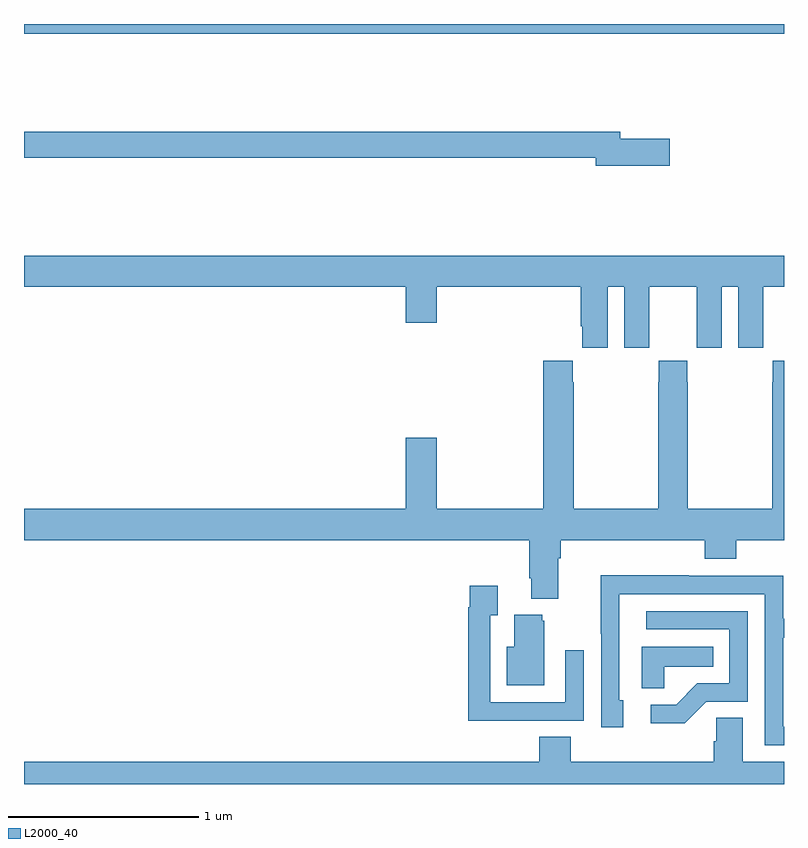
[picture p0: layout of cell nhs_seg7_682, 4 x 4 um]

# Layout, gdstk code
import gdstk
lib = gdstk.Library(unit=1e-6, precision=1e-09)
def R(c, l, rs):  # rectangles x0, y0, x1, y1
    for r in rs: c.add(gdstk.rectangle(r[:2], r[2:], *l))
def P(c, l, *ps):  # polygons
    for p in ps: c.add(gdstk.Polygon(p, *l))
L2000_40 = (2000, 40)

nhs_seg7_682 = lib.new_cell('nhs_seg7_682')
R(nhs_seg7_682, L2000_40, [(163,1001.948,167,1002)])
P(nhs_seg7_682, L2000_40, [(166.399,1001.396),(166.138,1001.396),(166.138,1001.432),(163,1001.432),(163,1001.296),(166.01,1001.296),(166.01,1001.254),(166.399,1001.254)],
  [(166.072,1000.616),(166.16,1000.616),(166.16,1000.296),(166.29,1000.296),(166.29,1000.408),(166.291,1000.408),(166.291,1000.616),(166.541,1000.616),(166.541,1000.408),(166.542,1000.408),(166.542,1000.296),(166.672,1000.296),(166.672,1000.616),(166.76,1000.616),(166.76,1000.296),(166.89,1000.296),(166.89,1000.408),(166.891,1000.408),(166.891,1000.616),(167,1000.616),(167,1000.78),(163,1000.78),(163,1000.616),(165.008,1000.616),(165.008,1000.428),(165.172,1000.428),(165.172,1000.616),(165.929,1000.616),(165.929,1000.408),(165.938,1000.408),(165.938,1000.296),(166.072,1000.296)],
  [(165.811,999.188),(165.824,999.188),(165.824,999.284),(166.583,999.284),(166.583,999.185),(166.748,999.185),(166.748,999.284),(167,999.284),(167,1000.228),(166.941,1000.228),(166.941,1000.115),(166.939,1000.115),(166.939,999.448),(166.494,999.448),(166.494,1000.115),(166.491,1000.115),(166.491,1000.228),(166.341,1000.228),(166.341,1000.115),(166.339,1000.115),(166.339,999.448),(165.894,999.448),(165.894,1000.115),(165.887,1000.115),(165.887,1000.228),(165.734,1000.228),(165.734,999.448),(165.172,999.448),(165.172,999.823),(165.008,999.823),(165.008,999.448),(163,999.448),(163,999.284),(165.659,999.284),(165.659,999.082),(165.671,999.082),(165.671,998.975),(165.811,998.975)],
  [(167,998.301),(166.995,998.301),(166.995,998.77),(167,998.77),(167,998.871),(166.995,998.871),(166.995,999.096),(166.499,999.096),(166.499,999.098),(166.036,999.098),(166.036,998.791),(166.038,998.791),(166.038,998.298),(166.153,998.298),(166.153,998.442),(166.134,998.442),(166.134,999),(166.899,999),(166.899,998.205),(167,998.205)],
  [(165.629,998.334),(165.945,998.334),(165.945,998.704),(165.849,998.704),(165.849,998.43),(165.453,998.43),(165.453,998.887),(165.493,998.887),(165.493,999.043),(165.345,999.043),(165.345,998.93),(165.337,998.93),(165.337,998.333),(165.629,998.333)],
  [(166.59,998.433),(166.809,998.433),(166.809,998.91),(166.275,998.91),(166.275,998.814),(166.713,998.814),(166.713,998.529),(166.544,998.529),(166.433,998.418),(166.299,998.418),(166.299,998.321),(166.477,998.321)],
  [(165.739,998.859),(165.728,998.859),(165.728,998.89),(165.581,998.89),(165.581,998.722),(165.542,998.722),(165.542,998.519),(165.739,998.519)],
  [(166.371,998.618),(166.628,998.618),(166.628,998.722),(166.25,998.722),(166.25,998.503),(166.371,998.503)],
  [(167,998.116),(166.783,998.116),(166.783,998.348),(166.644,998.348),(166.644,998.225),(166.631,998.225),(166.631,998.116),(165.878,998.116),(165.878,998.249),(165.713,998.249),(165.713,998.116),(163,998.116),(163,998),(167,998)])

lib.write_gds('nhs_seg7_682.gds')
